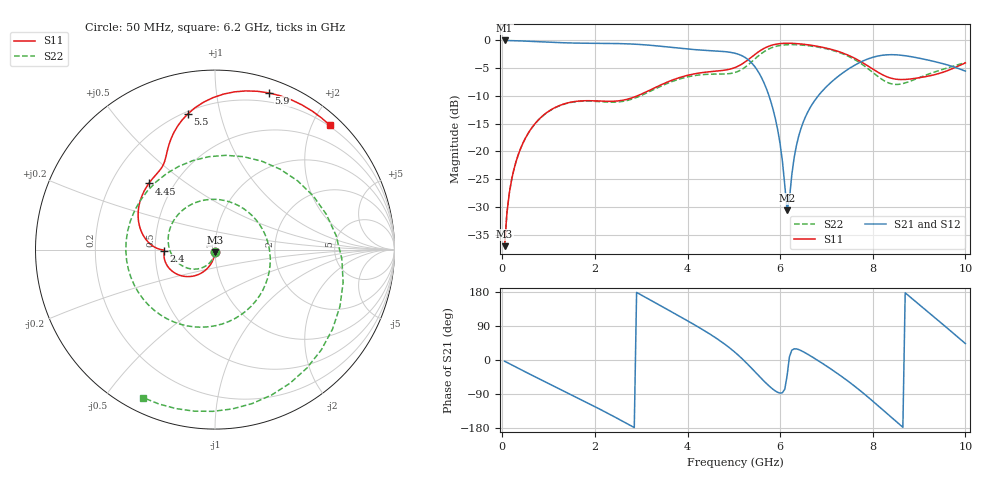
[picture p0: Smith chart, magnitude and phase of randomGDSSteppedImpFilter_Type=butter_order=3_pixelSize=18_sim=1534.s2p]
! freq	dB(S11)	phase(S11)	dB(S12)	phase(S12)
!  dB(S21)	phase(S21)	dB(S22)	phase(S22)
!S-par simulation data
#  GHz  S  DB  R 50
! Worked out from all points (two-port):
!   200 points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, 50 MHz to 10 GHz, reference 50 ohm
!   highest |S21| = -0.01 dB at 50 MHz (marker M1); lowest = -30.6 dB at 6.15 GHz (marker M2)
!   |S21| within 3 dB of the highest: start of sweep to 5.23 GHz; 8.015 GHz to 8.882 GHz (867.3 MHz wide, 10.3 % of centre)
!   lowest |S11| = -37.0 dB at 50 MHz (marker M3), VSWR 1.03, Z = 49.9 - j1.4 ohm
!   |S11| at or under -10 dB: start of sweep to 2.909 GHz
!   |S22| runs from -37.1 to -0.8 dB; largest |S21 - S12| = 0
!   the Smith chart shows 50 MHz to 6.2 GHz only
!   S11 on the Smith chart (normalised r, x): 50 MHz: 1.00, -0.03; 2.4 GHz: 0.56, -0.01; 4.45 GHz: 0.36, +0.37; 5.5 GHz: 0.21, +0.80; 5.9 GHz: 0.12, +1.40; 6.2 GHz: 0.18, +2.28
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0.05  -37.05 -92.3  -0.01 -3.2  -0.01 -3.2  -37.05 -93.4
0.2  -25.12 -100.4  -0.03 -12.7  -0.03 -12.7  -25.14 -105.0
0.5  -17.58 -116.1  -0.12 -31.5  -0.12 -31.5  -17.60 -127.8
1.15  -12.04 -146.3  -0.36 -71.3  -0.36 -71.3  -12.07 -177.4
1.75  -10.87 -167.9  -0.50 -107.7  -0.50 -107.7  -10.93 131.6
2.4  -10.96 -178.9  -0.55 -148.6  -0.55 -148.6  -11.12 61.0
3.4  -8.10 171.0  -1.03 144.4  -1.03 144.4  -8.34 -63.1
3.9  -6.51 155.0  -1.47 110.3  -1.47 110.3  -6.78 -114.9
4.45  -5.66 135.0  -1.82 70.9  -1.82 70.9  -6.09 -173.2
5.05  -4.79 118.7  -2.37 17.7  -2.37 17.7  -5.70 93.9
5.5  -2.25 101.2  -5.28 -36.7  -5.28 -36.7  -3.00 -4.0
5.9  -0.69 71.0  -14.21 -82.0  -14.21 -82.0  -1.09 -76.5
6.15  -0.50 51.1  -30.57 -41.5  -30.57 -41.5  -0.77 -109.9
6.2  -0.51 47.2  -28.59 8.1  -28.59 8.1  -0.75 -115.8
6.4  -0.60 31.9  -17.24 27.5  -17.24 27.5  -0.79 -137.3
6.7  -0.91 9.2  -11.40 7.5  -11.40 7.5  -1.05 -165.7
7.1  -1.60 -21.3  -7.54 -24.1  -7.54 -24.1  -1.72 158.3
7.6  -3.17 -59.9  -4.51 -68.4  -4.51 -68.4  -3.41 107.8
8.35  -6.68 -107.7  -2.57 -145.8  -2.57 -145.8  -7.68 -3.7
8.8  -6.96 -137.2  -2.88 166.9  -2.88 166.9  -7.37 -76.5
9.35  -6.14 161.3  -3.84 110.8  -3.84 110.8  -5.64 -131.8
10  -4.04 67.6  -5.53 43.4  -5.53 43.4  -3.99 -173.2
